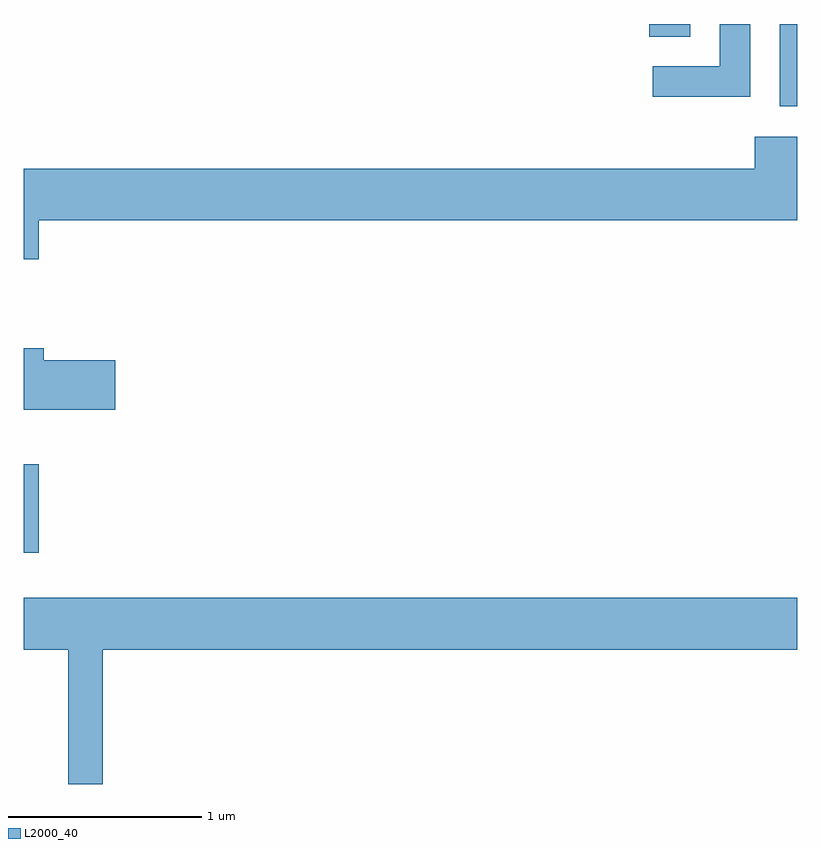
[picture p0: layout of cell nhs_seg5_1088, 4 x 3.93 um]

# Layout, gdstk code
import gdstk
lib = gdstk.Library(unit=1e-6, precision=1e-09)
def R(c, l, rs):  # rectangles x0, y0, x1, y1
    for r in rs: c.add(gdstk.rectangle(r[:2], r[2:], *l))
def P(c, l, *ps):  # polygons
    for p in ps: c.add(gdstk.Polygon(p, *l))
L2000_40 = (2000, 40)

nhs_seg5_1088 = lib.new_cell('nhs_seg5_1088')
R(nhs_seg5_1088, L2000_40, [(217.611,1417.336,217.689,1417.794), (221.521,1419.646,221.611,1420.072), (220.846,1420.006,221.059,1420.072)])
P(nhs_seg5_1088, L2000_40, [(221.369,1420.072),(221.211,1420.072),(221.211,1419.854),(220.863,1419.854),(220.863,1419.696),(221.369,1419.696)],
  [(217.689,1419.056),(221.611,1419.056),(221.611,1419.489),(221.391,1419.489),(221.391,1419.324),(217.611,1419.324),(217.611,1418.856),(217.689,1418.856)],
  [(218.084,1418.334),(217.714,1418.334),(217.714,1418.394),(217.611,1418.394),(217.611,1418.076),(218.084,1418.076)],
  [(218.019,1416.836),(221.611,1416.836),(221.611,1417.104),(217.611,1417.104),(217.611,1416.836),(217.841,1416.836),(217.841,1416.141),(218.019,1416.141)])

lib.write_gds('nhs_seg5_1088.gds')
